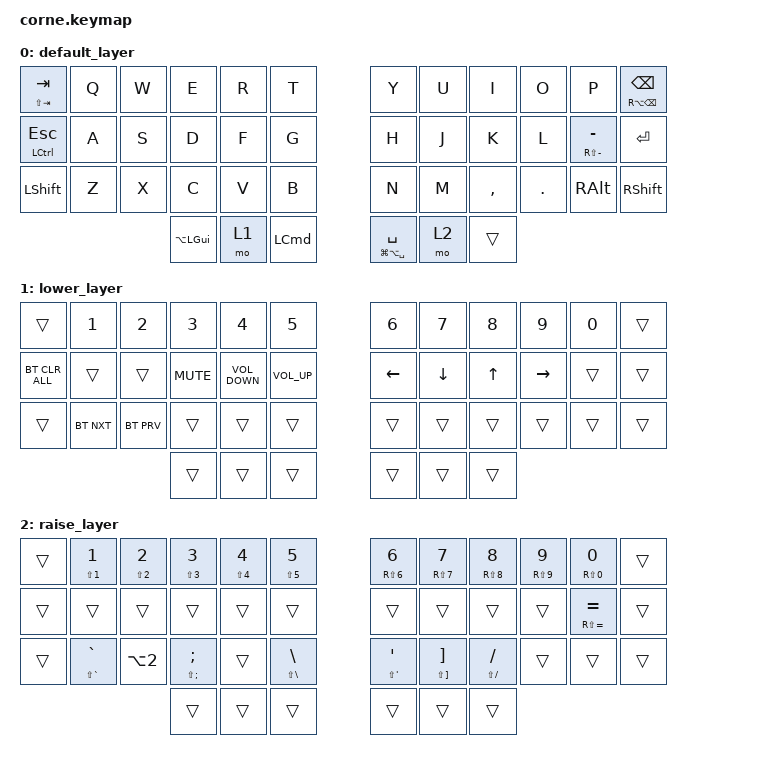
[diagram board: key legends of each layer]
/*
 * Copyright (c) 2020 The ZMK Contributors
 *
 * SPDX-License-Identifier: MIT
 */

#include <behaviors.dtsi>
#include <dt-bindings/zmk/bt.h>
#include <dt-bindings/zmk/keys.h>

/ {
    behaviors {
        new_behavior: new_behavior {
            compatible = "zmk,behavior-hold-tap";
            label = "NEW_BEHAVIOR";
            bindings = <&none>, <&none>;

            #binding-cells = <2>;
            tapping-term-ms = <150>;
            flavor = "balanced";
        };
    };

    keymap {
        compatible = "zmk,keymap";

        default_layer {
            // -----------------------------------------------------------------------------------------
            // |  TAB |  Q  |  W  |  E  |  R  |  T  |   |  Y  |  U   |  I  |  O  |  P  | BKSP |
            // | CTRL |  A  |  S  |  D  |  F  |  G  |   |  H  |  J   |  K  |  L  |  ;  |  '   |
            // | SHFT |  Z  |  X  |  C  |  V  |  B  |   |  N  |  M   |  ,  |  .  |  /  | ESC  |
            //                    | GUI | LWR | SPC |   | ENT | RSE  | ALT |

            bindings = <
&mt LS(TAB) TAB          &kp Q  &kp W  &kp E         &kp R  &kp T               &kp Y                    &kp U  &kp I      &kp O    &kp P                &mt RA(BACKSPACE) BACKSPACE
&mt LEFT_CONTROL ESCAPE  &kp A  &kp S  &kp D         &kp F  &kp G               &kp H                    &kp J  &kp K      &kp L    &mt RS(MINUS) MINUS  &kp ENTER
&kp LEFT_SHIFT           &kp Z  &kp X  &kp C         &kp V  &kp B               &kp N                    &kp M  &kp COMMA  &kp DOT  &kp RIGHT_ALT        &kp RIGHT_SHIFT
                                       &kp LA(LGUI)  &mo 1  &kp LEFT_COMMAND    &mt LG(LA(SPACE)) SPACE  &mo 2  &trans
            >;
        };

        lower_layer {
            // -----------------------------------------------------------------------------------------
            // |  TAB |  1  |  2  |  3  |  4  |  5  |   |  6  |  7  |  8  |  9  |  0  | BKSP |
            // | BTCLR| BT1 | BT2 | BT3 | BT4 | BT5 |   | LFT | DWN |  UP | RGT |     |      |
            // | SHFT |     |     |     |     |     |   |     |     |     |     |     |      |
            //                    | GUI |     | SPC |   | ENT |     | ALT |

            bindings = <
&trans          &kp N1      &kp N2      &kp N3      &kp N4             &kp N5             &kp N6    &kp N7    &kp N8  &kp N9     &kp N0  &trans
&bt BT_CLR_ALL  &trans      &trans      &kp K_MUTE  &kp C_VOLUME_DOWN  &kp C_VOLUME_UP    &kp LEFT  &kp DOWN  &kp UP  &kp RIGHT  &trans  &trans
&trans          &bt BT_NXT  &bt BT_PRV  &trans      &trans             &trans             &trans    &trans    &trans  &trans     &trans  &trans
                                        &trans      &trans             &trans             &trans    &trans    &trans
            >;
        };

        raise_layer {
            // -----------------------------------------------------------------------------------------
            // |  TAB |  !  |  @  |  #  |  $  |  %  |   |  ^  |  &  |  *  |  (  |  )  | BKSP |
            // | CTRL |     |     |     |     |     |   |  -  |  =  |  [  |  ]  |  \  |  `   |
            // | SHFT |     |     |     |     |     |   |  _  |  +  |  {  |  }  | "|" |  ~   |
            //                    | GUI |     | SPC |   | ENT |     | ALT |

            bindings = <
&trans  &mt LS(NUMBER_1) NUMBER_1  &mt LS(NUMBER_2) NUMBER_2  &mt LS(NUMBER_3) NUMBER_3  &mt LS(NUMBER_4) NUMBER_4  &mt LS(N5) N5                  &mt RS(NUMBER_6) NUMBER_6          &mt RS(N7) N7                        &mt RS(N8) N8        &mt RS(N9) N9  &mt RS(N0) N0        &trans
&trans  &trans                     &trans                     &trans                     &trans                     &trans                         &trans                             &trans                               &trans               &trans         &mt RS(EQUAL) EQUAL  &trans
&trans  &mt LS(GRAVE) GRAVE        &kp LA(NUMBER_2)           &mt LS(SEMI) SEMI          &trans                     &mt LS(BACKSLASH) BACKSLASH    &mt LS(SINGLE_QUOTE) SINGLE_QUOTE  &mt LS(RIGHT_BRACKET) RIGHT_BRACKET  &mt LS(SLASH) SLASH  &trans         &trans               &trans
                                                              &trans                     &trans                     &trans                         &trans                             &trans                               &trans
            >;
        };
    };
};
